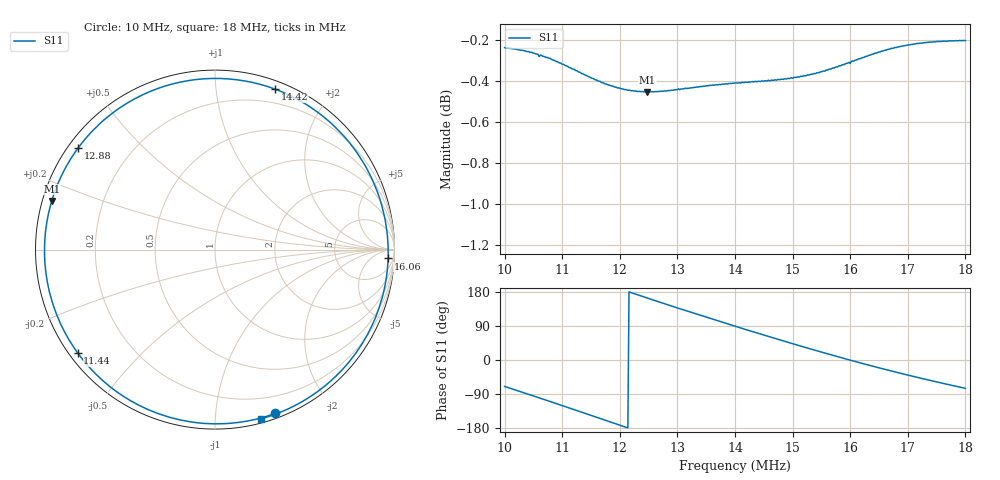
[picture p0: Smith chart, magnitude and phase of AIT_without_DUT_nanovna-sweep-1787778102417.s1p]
! NanoVNA Web complex sweep
! Processing: original sample grid, no browser smoothing
# Hz S RI R 50
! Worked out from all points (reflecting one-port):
!   401 points, 10 MHz to 18 MHz, reference 50 ohm
!   lowest |S11| = -0.5 dB at 12.48 MHz (marker M1), VSWR 38.24, Z = 1.34 + j7.28 ohm
!   phase of S11 starts at -70 deg and turns -365 deg over the sweep
!   S11 on the Smith chart (normalised r, x): 10 MHz: 0.04, -1.43; 11.44 MHz: 0.02, -0.33; 12.88 MHz: 0.03, +0.33; 14.42 MHz: 0.07, +1.44; 16.06 MHz: 18, -27; 18 MHz: 0.03, -1.31
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1e7  0.3362 -0.9129
1.026e7  0.1231 -0.9637
1.05e7  -0.081 -0.9665
1.074e7  -0.2827 -0.9253
1.1e7  -0.4863 -0.8322
1.144e7  -0.7649 -0.5759
1.172e7  -0.8814 -0.3645
1.2e7  -0.9418 -0.1321
1.224e7  -0.9468 0.0722
1.248e7  -0.9095 0.271
1.288e7  -0.7616 0.5676
1.3e7  -0.699 0.6437
1.326e7  -0.54 0.7831
1.35e7  -0.3713 0.8769
1.376e7  -0.1736 0.937
1.4e7  0.0146 0.9537
1.442e7  0.3345 0.8942
1.47e7  0.5258 0.7978
1.5e7  0.6993 0.6523
1.524e7  0.8095 0.5117
1.55e7  0.8968 0.3419
1.574e7  0.946 0.176
1.6e7  0.9642 -0.0055
1.606e7  0.9643 -0.049
1.652e7  0.9034 -0.3549
1.7e7  0.7486 -0.6235
1.75e7  0.5201 -0.8261
1.8e7  0.2569 -0.9423
